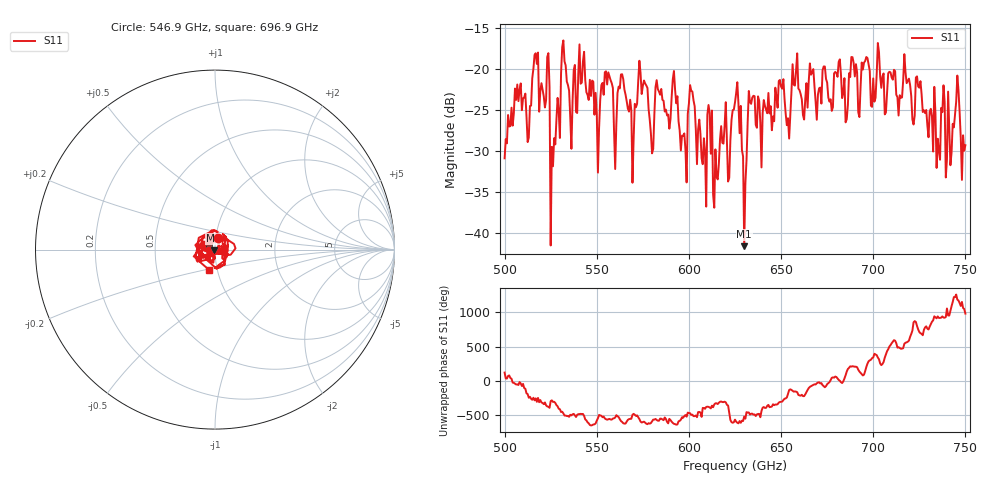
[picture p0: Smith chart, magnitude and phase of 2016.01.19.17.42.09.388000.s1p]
!Created with skrf (http://scikit-rf.org).
# GHz S RI R 50.0
!freq ReS11 ImS11
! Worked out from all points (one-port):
!   401 points, 500 GHz to 750 GHz, reference 50 ohm
!   lowest |S11| = -41.7 dB at 630 GHz (marker M1), VSWR 1.02, Z = 49.2 - j0.33 ohm
!   |S11| at or under -10 dB: start of sweep to end of sweep
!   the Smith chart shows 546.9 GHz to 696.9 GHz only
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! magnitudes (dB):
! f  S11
! 500 GHz  -30.9
! 506.9 GHz  -21.9
! 513.1 GHz  -28.4
! 516.9 GHz  -18.1
! 523.1 GHz  -18.5
! 526.2 GHz  -31.9
! 531.2 GHz  -17.3
! 535.6 GHz  -25.9
! 541.9 GHz  -21.7
! 550 GHz  -25.4
! 562.5 GHz  -22.4
! 568.8 GHz  -25.1
! 573.8 GHz  -20.5
! 580 GHz  -30.3
! 583.1 GHz  -22.5
! 593.8 GHz  -23.3
! 597.5 GHz  -27.9
! 601.9 GHz  -22.8
! 608.1 GHz  -28.5
! 611.2 GHz  -25.3
! 614.4 GHz  -29.8
! 625 GHz  -24.1
! 630 GHz  -41.7
! 633.8 GHz  -24.3
! 656.2 GHz  -19.4
! 687.5 GHz  -21.0
! 718.8 GHz  -21.5
! 750 GHz  -29.3
